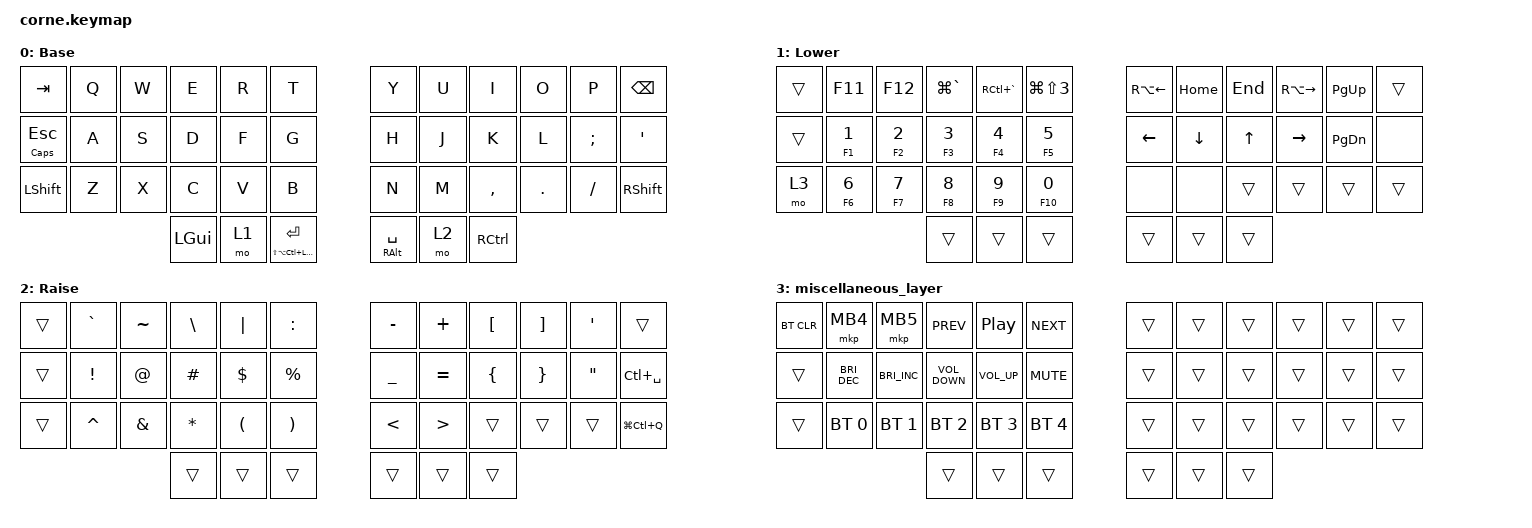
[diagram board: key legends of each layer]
/*
 * Copyright (c) 2020 The ZMK Contributors
 *
 * SPDX-License-Identifier: MIT
 */

#include <behaviors.dtsi>
#include <dt-bindings/zmk/bt.h>
#include <dt-bindings/zmk/keys.h>
#include <dt-bindings/zmk/pointing.h>

/ {
    behaviors {
        mt_tap: mt_tap {
            compatible = "zmk,behavior-hold-tap";
            label = "MT_TAP";
            bindings = <&kp>, <&kp>;

            #binding-cells = <2>;
            flavor = "tap-preferred";
            tapping-term-ms = <300>;
        };

        mt_bal: mt_bal {
            compatible = "zmk,behavior-hold-tap";
            label = "MT_BAL";
            bindings = <&kp>, <&kp>;

            #binding-cells = <2>;
            tapping-term-ms = <250>;
            flavor = "balanced";
        };
    };

    keymap {
        compatible = "zmk,keymap";

        default_layer {
            // -----------------------------------------------------------------------------------------
            // |  TAB |  Q  |  W  |  E  |  R  |  T  |   |  Y  |  U   |  I  |  O  |  P  | BKSP |
            // | CTRL |  A  |  S  |  D  |  F  |  G  |   |  H  |  J   |  K  |  L  |  ;  |  '   |
            // | SHFT |  Z  |  X  |  C  |  V  |  B  |   |  N  |  M   |  ,  |  .  |  /  | ESC  |
            //                    | GUI | LWR | SPC |   | ENT | RSE  | ALT |

            display-name = "Base";
            bindings = <
&kp TAB                  &kp Q  &kp W  &kp E     &kp R  &kp T                                 &kp Y                    &kp U  &kp I      &kp O    &kp P     &kp BSPC
&mt_bal CAPSLOCK ESCAPE  &kp A  &kp S  &kp D     &kp F  &kp G                                 &kp H                    &kp J  &kp K      &kp L    &kp SEMI  &kp SQT
&kp LSHFT                &kp Z  &kp X  &kp C     &kp V  &kp B                                 &kp N                    &kp M  &kp COMMA  &kp DOT  &kp FSLH  &kp RSHIFT
                                       &kp LGUI  &mo 1  &mt_bal LS(LA(LC(LEFT_GUI))) ENTER    &mt_bal RIGHT_ALT SPACE  &mo 2  &kp RCTRL
            >;
        };

        lower_layer {
            // -----------------------------------------------------------------------------------------
            // |  TAB |  1  |  2  |  3  |  4  |  5  |   |  6  |  7  |  8  |  9  |  0  | BKSP |
            // | BTCLR| BT1 | BT2 | BT3 | BT4 | BT5 |   | LFT | DWN |  UP | RGT |     |      |
            // | SHFT |     |     |     |     |     |   |     |     |     |     |     |      |
            //                    | GUI |     | SPC |   | ENT |     | ALT |

            display-name = "Lower";
            bindings = <
&trans  &kp F11              &kp F12              &kp LG(GRAVE)        &kp RC(GRAVE)        &kp LG(LS(NUMBER_3))    &kp RA(LEFT)  &kp HOME  &kp END  &kp RA(RIGHT)  &kp PAGE_UP    &trans
&trans  &mt_tap F1 NUMBER_1  &mt_tap F2 NUMBER_2  &mt_tap F3 NUMBER_3  &mt_tap F4 NUMBER_4  &mt_tap F5 N5           &kp LEFT      &kp DOWN  &kp UP   &kp RIGHT      &kp PAGE_DOWN  &none
&mo 3   &mt_tap F6 NUMBER_6  &mt_tap F7 N7        &mt_tap F8 N8        &mt_tap F9 N9        &mt_tap F10 NUMBER_0    &none         &none     &trans   &trans         &trans         &trans
                                                  &trans               &trans               &trans                  &trans        &trans    &trans
            >;
        };

        raise_layer {
            // -----------------------------------------------------------------------------------------
            // |  TAB |  !  |  @  |  #  |  $  |  %  |   |  ^  |  &  |  *  |  (  |  )  | BKSP |
            // | CTRL |     |     |     |     |     |   |  -  |  =  |  [  |  ]  |  \  |  `   |
            // | SHFT |     |     |     |     |     |   |  _  |  +  |  {  |  }  | "|" |  ~   |
            //                    | GUI |     | SPC |   | ENT |     | ALT |

            display-name = "Raise";
            bindings = <
&trans  &kp GRAVE  &kp TILDE    &kp BACKSLASH  &kp PIPE              &kp COLON                &kp MINUS  &kp PLUS   &kp LBKT  &kp RBKT  &kp SQT  &trans
&trans  &kp EXCL   &kp AT_SIGN  &kp HASH       &kp DLLR              &kp PERCENT              &kp UNDER  &kp EQUAL  &kp LBRC  &kp RBRC  &kp DQT  &kp LC(SPACE)
&trans  &kp CARET  &kp AMPS     &kp ASTERISK   &kp LEFT_PARENTHESIS  &kp RIGHT_PARENTHESIS    &kp LT     &kp GT     &trans    &trans    &trans   &kp LG(LC(Q))
                                &trans         &trans                &trans                   &trans     &trans     &trans
            >;
        };

        miscellaneous_layer {
            bindings = <
&bt BT_CLR  &mkp MB4              &mkp MB5              &kp C_PREV         &kp C_PLAY_PAUSE  &kp C_NEXT      &trans  &trans  &trans  &trans  &trans  &trans
&trans      &kp C_BRIGHTNESS_DEC  &kp C_BRIGHTNESS_INC  &kp C_VOLUME_DOWN  &kp C_VOLUME_UP   &kp C_MUTE      &trans  &trans  &trans  &trans  &trans  &trans
&trans      &bt BT_SEL 0          &bt BT_SEL 1          &bt BT_SEL 2       &bt BT_SEL 3      &bt BT_SEL 4    &trans  &trans  &trans  &trans  &trans  &trans
                                                        &trans             &trans            &trans          &trans  &trans  &trans
            >;
        };
    };
};
